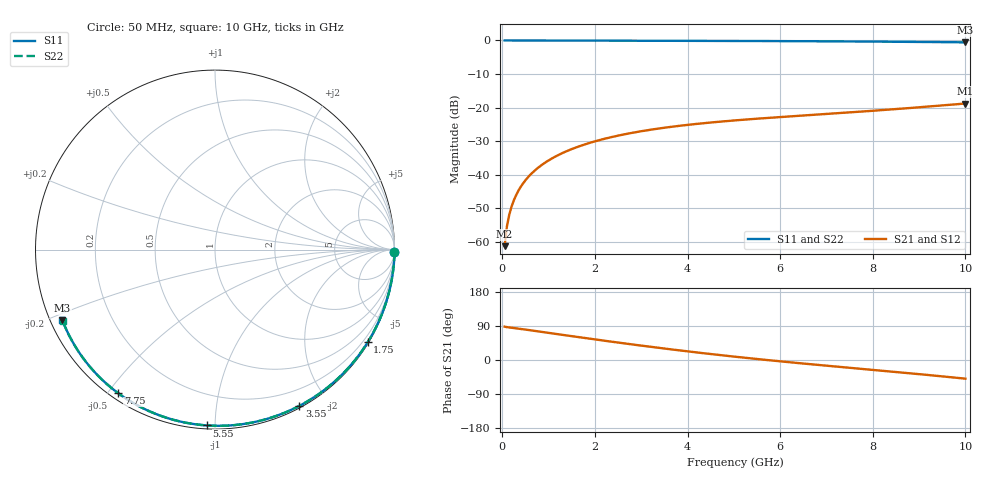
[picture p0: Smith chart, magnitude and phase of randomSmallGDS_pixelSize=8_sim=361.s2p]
! freq	dB(S11)	phase(S11)	dB(S12)	phase(S12)
!  dB(S21)	phase(S21)	dB(S22)	phase(S22)
!S-par simulation data
#  GHz  S  DB  R 50
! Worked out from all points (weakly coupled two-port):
!   200 points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, 50 MHz to 10 GHz, reference 50 ohm
!   highest |S21| = -18.76 dB at 10 GHz (marker M1); lowest = -61.2 dB at 50 MHz (marker M2)
!   lowest |S11| = -0.6 dB at 10 GHz (marker M3), VSWR 30.79, Z = 1.7 - j11 ohm
!   |S11| at or under -10 dB: nowhere
!   |S22| runs from -0.6 to 0.0 dB; largest |S21 - S12| = 0
!   S11 on the Smith chart (normalised r, x): 50 MHz: open; 1.75 GHz: 0.03, -3.57; 3.55 GHz: 0.02, -1.67; 5.55 GHz: 0.02, -0.95; 7.75 GHz: 0.02, -0.53; 10 GHz: 0.03, -0.22
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0.05  -0.00 -0.9  -61.21 88.0  -61.21 88.0  -0.00 -0.9
0.1  -0.00 -1.8  -55.31 86.7  -55.31 86.7  -0.00 -1.8
0.15  -0.00 -2.7  -51.88 85.8  -51.88 85.8  -0.00 -2.7
0.2  -0.00 -3.6  -49.44 85.1  -49.44 85.1  -0.00 -3.6
0.25  -0.00 -4.6  -47.54 84.3  -47.54 84.3  -0.00 -4.6
0.35  -0.00 -6.4  -44.66 82.8  -44.66 82.8  -0.00 -6.4
0.5  -0.01 -9.1  -41.60 80.3  -41.60 80.3  -0.01 -9.1
0.7  -0.01 -12.7  -38.72 76.9  -38.72 76.9  -0.01 -12.7
1  -0.02 -18.1  -35.69 71.6  -35.69 71.6  -0.02 -18.0
1.35  -0.03 -24.3  -33.18 65.5  -33.18 65.5  -0.03 -24.3
1.75  -0.04 -31.3  -31.07 58.6  -31.07 58.6  -0.04 -31.3
2.5  -0.06 -44.2  -28.32 46.0  -28.32 46.0  -0.06 -44.2
3.4  -0.09 -59.2  -26.16 31.7  -26.16 31.7  -0.09 -59.2
3.55  -0.09 -61.7  -25.88 29.5  -25.88 29.5  -0.09 -61.7
4.3  -0.12 -73.7  -24.68 18.5  -24.68 18.5  -0.12 -73.6
5.05  -0.15 -85.2  -23.76 8.4  -23.76 8.4  -0.15 -85.2
5.55  -0.17 -92.7  -23.23 2.0  -23.23 2.0  -0.17 -92.6
6.7  -0.23 -109.3  -22.15 -11.6  -22.15 -11.6  -0.23 -109.3
7.75  -0.31 -124.0  -21.17 -23.3  -21.17 -23.3  -0.31 -123.9
8.35  -0.37 -132.2  -20.57 -29.9  -20.57 -29.9  -0.37 -132.2
9.2  -0.46 -143.9  -19.67 -39.6  -19.67 -39.6  -0.46 -143.9
10  -0.56 -155.1  -18.76 -49.2  -18.76 -49.2  -0.56 -155.0
